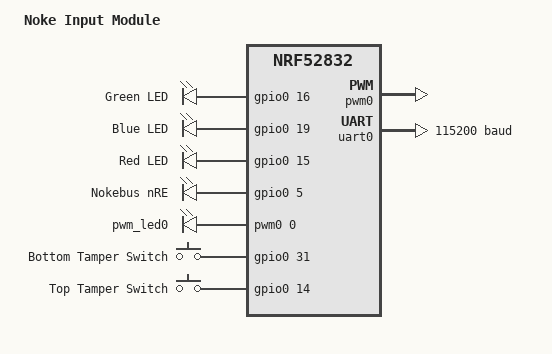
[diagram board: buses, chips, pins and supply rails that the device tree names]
/dts-v1/;
#include <nordic/nrf52832_qfaa.dtsi>
#include "IPM0000-pinctrl.dtsi"

/ {
	model = "Noke Input Module";
	compatible = "Noke,IPM0000";

	chosen {
		zephyr,sram = &sram0;
		zephyr,flash = &flash0;
		zephyr,code-partition = &slot0_partition;
	};

	leds {
		compatible = "gpio-leds";
		led0: led_0 {
			gpios = <&gpio0 16 GPIO_ACTIVE_HIGH>;
			label = "Green LED";
		};
		led1: led_1 {
			gpios = <&gpio0 19 GPIO_ACTIVE_HIGH>;
			label = "Blue LED";
		};
		led2: led_2 {
			gpios = <&gpio0 15 GPIO_ACTIVE_HIGH>;
			label = "Red LED";
		};
		led3: led3 {
			gpios = <&gpio0 5 GPIO_ACTIVE_HIGH>;
			label = "Nokebus nRE";
		};
	};

	pwmleds {
		compatible = "pwm-leds";

		pwm_led0: pwm_led0 {
			pwms = <&pwm0 0 PWM_MSEC(20) PWM_POLARITY_NORMAL>;
		};
	};

	buttons {
		compatible = "gpio-keys";
		button0: button0 {
			gpios = <&gpio0 31 GPIO_ACTIVE_HIGH>;
			label = "Bottom Tamper Switch";
		};
		button1:button1 {
			gpios = <&gpio0 14 GPIO_ACTIVE_HIGH>;
			label = "Top Tamper Switch";
		};
	};

	/* These aliases are provided for compatibility with samples */
	aliases {
		led-green = &led0;
		led-red = &led2;
		led-blue = &led1;
		buzzer = &pwm_led0;
		tamper-top = &button1;
		tamper-bottom = &button0;
		nre = &led3;
	};
};

&reg {
	regulator-initial-mode = <NRF5X_REG_MODE_DCDC>;
};

&gpiote {
	status = "okay";
};

&gpio0 {
	status = "okay";
};

&pwm0 {
	status = "okay";
	pinctrl-0 = <&pwm0_default>;
	pinctrl-1 = <&pwm0_sleep>;
	pinctrl-names = "default", "sleep";
};

&uart0 {
	compatible = "nordic,nrf-uarte";
	status = "okay";
	current-speed = <115200>;
	pinctrl-0 = <&uart0_default>;
	pinctrl-1 = <&uart0_sleep>;
	pinctrl-names = "default", "sleep";
};

&flash0 {

	partitions {
		compatible = "fixed-partitions";
		#address-cells = <1>;
		#size-cells = <1>;

		boot_partition: partition@0 {
			label = "mcuboot";
			reg = <0x00000000 0xc000>;
		};
		slot0_partition: partition@c000 {
			label = "image-0";
			reg = <0x0000C000 0x37000>;
		};
		slot1_partition: partition@43000 {
			label = "image-1";
			reg = <0x00043000 0x37000>;
		};
		storage_partition: partition@7a000 {
			label = "storage";
			reg = <0x0007a000 0x00006000>;
		};
	};
};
